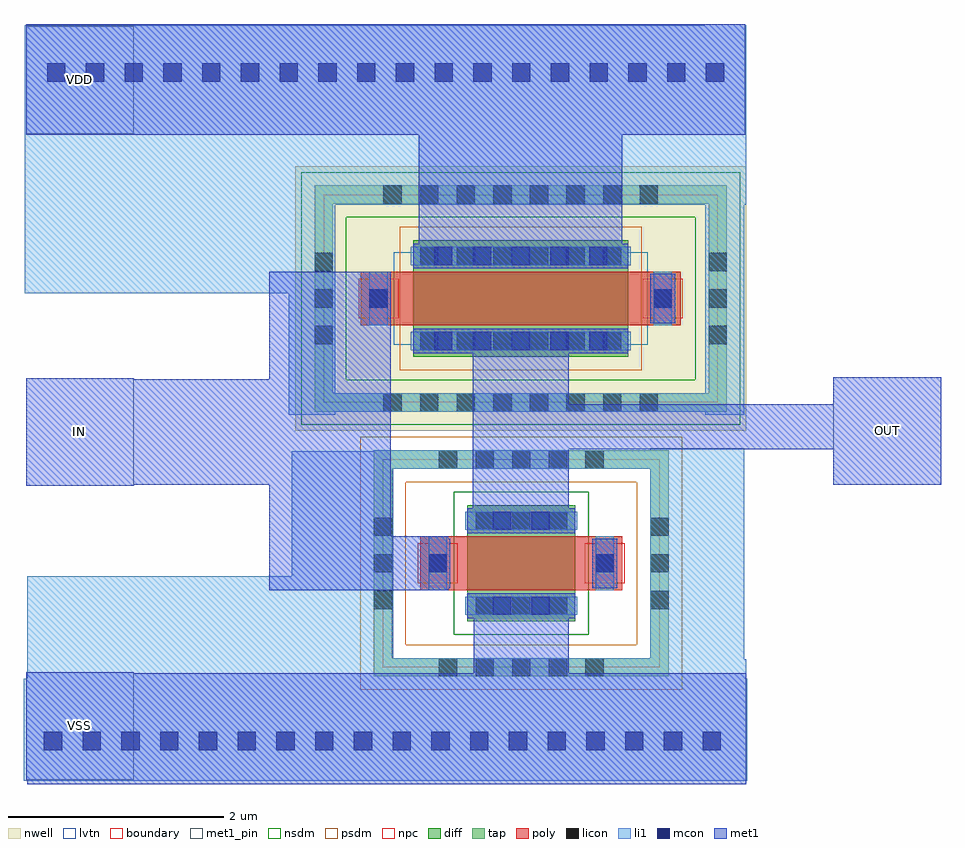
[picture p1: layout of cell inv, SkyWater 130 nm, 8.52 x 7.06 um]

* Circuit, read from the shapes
.subckt inv IN OUT VDD VSS
XM1 OUT IN VSS VSS sky130_fd_pr__nfet_01v8 w=1 l=0.5
XM2 VDD IN OUT VDD sky130_fd_pr__pfet_01v8_lvt w=2 l=0.5
.ends

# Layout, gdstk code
from math import pi, radians
import gdstk
lib = gdstk.Library(unit=1e-6, precision=1e-09)
def R(c, l, rs):  # rectangles x0, y0, x1, y1
    for r in rs: c.add(gdstk.rectangle(r[:2], r[2:], *l))
def A(c, l, x, y, w, h, nx, ny, dx, dy):  # array of equal rectangles
    R(c, l, [(x+i*dx, y+j*dy, x+i*dx+w, y+j*dy+h) for i in range(nx) for j in range(ny)])
nwell = (64, 20)
diff = (65, 20)
tap = (65, 44)
poly = (66, 20)
licon = (66, 44)
li1 = (67, 20)
mcon = (67, 44)
met1_pin = (68, 16)
met1 = (68, 20)
nsdm = (93, 44)
psdm = (94, 20)
npc = (95, 20)
lvtn = (125, 44)
boundary = (235, 4)

sky130_fd_pr__nfet_01v8_ = lib.new_cell('sky130_fd_pr__nfet_01v8_FGWQMQ')
R(sky130_fd_pr__nfet_01v8_, diff, [(-0.54,-0.5,0.54,0.5)])
R(sky130_fd_pr__nfet_01v8_, tap, [(-1.05,-1.37,1.05,-1.2), (-1.05,-1.2,-0.88,1.2), (0.88,-1.2,1.05,1.2), (-1.05,1.2,1.05,1.37)])
R(sky130_fd_pr__nfet_01v8_, poly, [(-0.25,-0.94,0.25,0.94)])
A(sky130_fd_pr__nfet_01v8_, licon, -0.425, -1.37, 0.17, 0.17, 3, 2, 0.34, 2.57)
A(sky130_fd_pr__nfet_01v8_, licon, -1.05, -0.765, 0.17, 0.17, 1, 5, 0, 0.34)
A(sky130_fd_pr__nfet_01v8_, licon, 0.88, -0.765, 0.17, 0.17, 1, 5, 0, 0.34)
A(sky130_fd_pr__nfet_01v8_, licon, -0.48, -0.425, 0.17, 0.17, 1, 3, 0, 0.34)
A(sky130_fd_pr__nfet_01v8_, licon, 0.31, -0.425, 0.17, 0.17, 1, 3, 0, 0.34)
R(sky130_fd_pr__nfet_01v8_, licon, [(-0.085,-0.86,0.085,-0.69), (-0.085,0.69,0.085,0.86)])
R(sky130_fd_pr__nfet_01v8_, li1, [(-1.05,-1.37,1.05,-1.2), (-1.05,-1.2,-0.88,1.2), (0.88,-1.2,1.05,1.2), (-0.25,-0.86,0.25,-0.69), (-0.48,-0.52,-0.31,0.52), (0.31,-0.52,0.48,0.52), (-0.25,0.69,0.25,0.86), (-1.05,1.2,1.05,1.37)])
R(sky130_fd_pr__nfet_01v8_, mcon, [(-0.085,-0.86,0.085,-0.69), (-0.48,-0.265,-0.31,-0.095), (0.31,-0.265,0.48,-0.095), (-0.48,0.095,-0.31,0.265), (0.31,0.095,0.48,0.265), (-0.085,0.69,0.085,0.86)])
R(sky130_fd_pr__nfet_01v8_, met1, [(-0.23,-0.89,0.23,-0.66), (-0.51,-0.5,-0.28,0.5), (0.28,-0.5,0.51,0.5), (-0.23,0.66,0.23,0.89)])
R(sky130_fd_pr__nfet_01v8_, nsdm, [(-0.665,-0.625,0.665,0.625)])
R(sky130_fd_pr__nfet_01v8_, psdm, [(-1.175,-1.495,1.175,-1.075), (-1.175,-1.075,-0.755,1.075), (0.755,-1.075,1.175,1.075), (-1.175,1.075,1.175,1.495)])
R(sky130_fd_pr__nfet_01v8_, npc, [(-0.185,-0.96,0.185,-0.59), (-0.185,0.59,0.185,0.96)])
R(sky130_fd_pr__nfet_01v8_, boundary, [(-0.965,-1.285,0.965,1.285)])
sky130_fd_pr__nfet_01v8_.add(gdstk.Label('G', (0,0.775), layer=67, texttype=5))
sky130_fd_pr__nfet_01v8_.add(gdstk.Label('S', (0.395,0), layer=67, texttype=5))
sky130_fd_pr__nfet_01v8_.add(gdstk.Label('D', (-0.395,0), layer=67, texttype=5))
sky130_fd_pr__nfet_01v8_.add(gdstk.Label('B', (0,-1.285), layer=67, texttype=5))

sky130_fd_pr__pfet_01v8_ = lib.new_cell('sky130_fd_pr__pfet_01v8_lvt_7M33HH')
R(sky130_fd_pr__pfet_01v8_, nwell, [(-1.23,-2.095,1.23,2.095)])
R(sky130_fd_pr__pfet_01v8_, diff, [(-0.54,-1,0.54,1)])
R(sky130_fd_pr__pfet_01v8_, tap, [(-1.05,-1.915,1.05,-1.745), (-1.05,-1.745,-0.88,1.745), (0.88,-1.745,1.05,1.745), (-1.05,1.745,1.05,1.915)])
R(sky130_fd_pr__pfet_01v8_, poly, [(-0.25,-1.485,0.25,1.485)])
A(sky130_fd_pr__pfet_01v8_, licon, -0.425, -1.915, 0.17, 0.17, 3, 2, 0.34, 3.66)
A(sky130_fd_pr__pfet_01v8_, licon, -1.05, -1.275, 0.17, 0.17, 1, 8, 0, 0.34)
A(sky130_fd_pr__pfet_01v8_, licon, 0.88, -1.275, 0.17, 0.17, 1, 8, 0, 0.34)
A(sky130_fd_pr__pfet_01v8_, licon, -0.48, -0.935, 0.17, 0.17, 1, 6, 0, 0.34)
A(sky130_fd_pr__pfet_01v8_, licon, 0.31, -0.935, 0.17, 0.17, 1, 6, 0, 0.34)
R(sky130_fd_pr__pfet_01v8_, licon, [(-0.085,-1.405,0.085,-1.235), (-0.085,1.235,0.085,1.405)])
R(sky130_fd_pr__pfet_01v8_, li1, [(-1.05,-1.915,1.05,-1.745), (-1.05,-1.745,-0.88,1.745), (0.88,-1.745,1.05,1.745), (-0.25,-1.405,0.25,-1.235), (-0.48,-1.02,-0.31,1.02), (0.31,-1.02,0.48,1.02), (-0.25,1.235,0.25,1.405), (-1.05,1.745,1.05,1.915)])
A(sky130_fd_pr__pfet_01v8_, mcon, -0.48, -0.805, 0.17, 0.17, 1, 5, 0, 0.36)
A(sky130_fd_pr__pfet_01v8_, mcon, 0.31, -0.805, 0.17, 0.17, 1, 5, 0, 0.36)
R(sky130_fd_pr__pfet_01v8_, mcon, [(-0.085,-1.405,0.085,-1.235), (-0.085,1.235,0.085,1.405)])
R(sky130_fd_pr__pfet_01v8_, met1, [(-0.23,-1.435,0.23,-1.205), (-0.51,-1,-0.28,1), (0.28,-1,0.51,1), (-0.23,1.205,0.23,1.435)])
R(sky130_fd_pr__pfet_01v8_, nsdm, [(-1.175,-2.04,1.175,-1.62), (-1.175,-1.62,-0.755,1.62), (0.755,-1.62,1.175,1.62), (-1.175,1.62,1.175,2.04)])
R(sky130_fd_pr__pfet_01v8_, psdm, [(-0.665,-1.125,0.665,1.125)])
R(sky130_fd_pr__pfet_01v8_, npc, [(-0.185,-1.505,0.185,-1.135), (-0.185,1.135,0.185,1.505)])
R(sky130_fd_pr__pfet_01v8_, lvtn, [(-0.43,-1.18,0.43,1.18)])
R(sky130_fd_pr__pfet_01v8_, boundary, [(-0.965,-1.83,0.965,1.83)])
sky130_fd_pr__pfet_01v8_.add(gdstk.Label('G', (0,1.32), layer=67, texttype=5))
sky130_fd_pr__pfet_01v8_.add(gdstk.Label('S', (0.395,0), layer=67, texttype=5))
sky130_fd_pr__pfet_01v8_.add(gdstk.Label('D', (-0.395,0), layer=67, texttype=5))
sky130_fd_pr__pfet_01v8_.add(gdstk.Label('B', (0,-1.83), layer=67, texttype=5))

inv = lib.new_cell('inv')
R(inv, li1, [(-0.02,-6.01,6.7,-5.06), (0.01,-5.06,6.69,-4.88), (0.01,-4.88,3.41,-4.11), (5.8,-4.88,6.67,-2.92), (2.47,-4.11,3.41,-2.95), (2.44,-2.61,2.87,-1.48), (6.31,-2.61,6.67,-0.66), (-0.01,-1.48,2.87,-0.66), (-0.01,-0.66,6.69,1.01), (6.31,1.01,6.67,1.02)])
A(inv, mcon, 0.165, -5.725, 0.17, 0.17, 18, 1, 0.36, 0)
A(inv, mcon, 0.195, 0.485, 0.17, 0.17, 18, 1, 0.36, 0)
R(inv, met1_pin, [(0,-6,1,-5), (0,-3.27,1,-2.27), (7.5,-3.26,8.5,-2.26), (0,0,1,1)])
R(inv, met1, [(0.01,-6.04,6.69,-6), (0,-6,6.69,-5.01), (0,-5.01,1,-5), (4.16,-5.01,5.04,-4.41), (2.26,-4.24,3.92,-3.74), (2.26,-3.74,3.39,-3.26), (4.15,-3.68,5.04,-2.93), (0,-3.27,1,-3.26), (0,-3.26,3.39,-2.28), (7.5,-3.26,8.5,-2.93), (4.15,-2.93,8.5,-2.51), (4.15,-2.51,5.04,-1.84), (7.5,-2.51,8.5,-2.26), (0,-2.28,1,-2.27), (2.26,-2.28,3.39,-1.28), (3.65,-1.1,5.54,-0.01), (0,-0.01,6.68,1.02)])
inv.add(gdstk.Reference(sky130_fd_pr__nfet_01v8_, (4.6,-3.99), rotation=3*pi/2))
inv.add(gdstk.Reference(sky130_fd_pr__pfet_01v8_, (4.595,-1.53), rotation=3*pi/2))
inv.add(gdstk.Label('VSS', (0.5,-5.5), layer=68, texttype=5))
inv.add(gdstk.Label('OUT', (8,-2.76), layer=68, texttype=5))
inv.add(gdstk.Label('IN', (0.5,-2.77), layer=68, texttype=5))
inv.add(gdstk.Label('VDD', (0.5,0.5), layer=68, texttype=5))

lib.write_gds('inv.gds')
